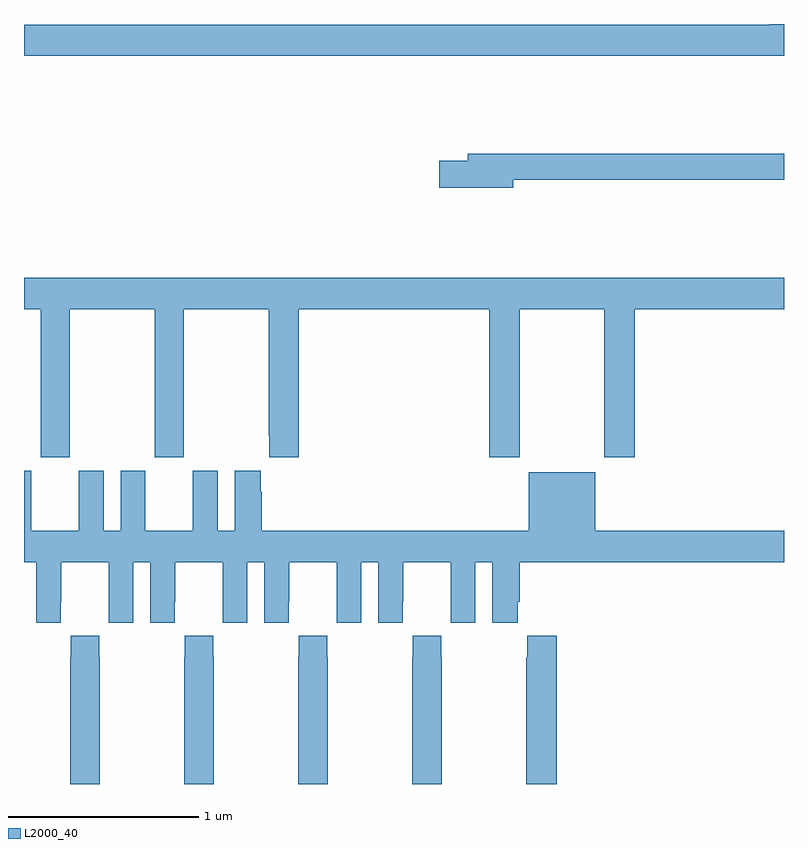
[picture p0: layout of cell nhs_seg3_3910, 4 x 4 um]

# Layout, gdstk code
import gdstk
lib = gdstk.Library(unit=1e-6, precision=1e-09)
def P(c, l, *ps):  # polygons
    for p in ps: c.add(gdstk.Polygon(p, *l))
L2000_40 = (2000, 40)

nhs_seg3_3910 = lib.new_cell('nhs_seg3_3910')
P(nhs_seg3_3910, L2000_40, [(317,718.4),(316.922,718.4),(316.922,718.396),(313,718.396),(313,718.232),(317,718.232)],
  [(315.574,717.58),(317,717.58),(317,717.716),(315.335,717.716),(315.335,717.68),(315.186,717.68),(315.186,717.538),(315.574,717.538)],
  [(313.242,716.9),(313.687,716.9),(313.687,716.121),(313.842,716.121),(313.842,716.9),(314.287,716.9),(314.287,716.233),(314.291,716.233),(314.291,716.121),(314.447,716.121),(314.447,716.9),(315.449,716.9),(315.449,716.121),(315.609,716.121),(315.609,716.9),(316.054,716.9),(316.054,716.121),(316.214,716.121),(316.214,716.9),(317,716.9),(317,717.064),(313,717.064),(313,716.9),(313.087,716.9),(313.087,716.121),(313.242,716.121)],
  [(313.194,715.36),(313.195,715.36),(313.195,715.568),(313.445,715.568),(313.445,715.36),(313.446,715.36),(313.446,715.248),(313.576,715.248),(313.576,715.568),(313.664,715.568),(313.664,715.248),(313.794,715.248),(313.794,715.36),(313.795,715.36),(313.795,715.568),(314.045,715.568),(314.045,715.36),(314.046,715.36),(314.046,715.248),(314.176,715.248),(314.176,715.568),(314.264,715.568),(314.264,715.248),(314.394,715.248),(314.394,715.36),(314.395,715.36),(314.395,715.568),(314.645,715.568),(314.645,715.36),(314.646,715.36),(314.646,715.248),(314.776,715.248),(314.776,715.568),(314.864,715.568),(314.864,715.248),(314.994,715.248),(314.994,715.36),(314.995,715.36),(314.995,715.568),(315.245,715.568),(315.245,715.36),(315.246,715.36),(315.246,715.248),(315.376,715.248),(315.376,715.568),(315.464,715.568),(315.464,715.248),(315.598,715.248),(315.598,715.36),(315.608,715.36),(315.608,715.568),(317,715.568),(317,715.732),(316.006,715.732),(316.006,716.041),(315.656,716.041),(315.656,715.732),(314.252,715.732),(314.252,715.937),(314.245,715.937),(314.245,716.05),(314.108,716.05),(314.108,715.732),(314.02,715.732),(314.02,716.05),(313.889,716.05),(313.889,715.732),(313.639,715.732),(313.639,716.05),(313.508,716.05),(313.508,715.732),(313.42,715.732),(313.42,716.05),(313.289,716.05),(313.289,715.732),(313.039,715.732),(313.039,716.05),(313,716.05),(313,715.568),(313.064,715.568),(313.064,715.248),(313.194,715.248)],
  [(315.803,715.18),(315.649,715.18),(315.649,715.067),(315.643,715.067),(315.643,714.4),(315.803,714.4)],
  [(315.198,715.067),(315.195,715.067),(315.195,715.18),(315.045,715.18),(315.045,715.067),(315.043,715.067),(315.043,714.4),(315.198,714.4)],
  [(314.598,715.067),(314.595,715.067),(314.595,715.18),(314.445,715.18),(314.445,715.067),(314.443,715.067),(314.443,714.4),(314.598,714.4)],
  [(313.998,715.067),(313.995,715.067),(313.995,715.18),(313.845,715.18),(313.845,715.067),(313.843,715.067),(313.843,714.4),(313.998,714.4)],
  [(313.395,715.067),(313.395,715.18),(313.245,715.18),(313.245,715.067),(313.243,715.067),(313.243,714.4),(313.398,714.4),(313.398,715.067)])

lib.write_gds('nhs_seg3_3910.gds')
